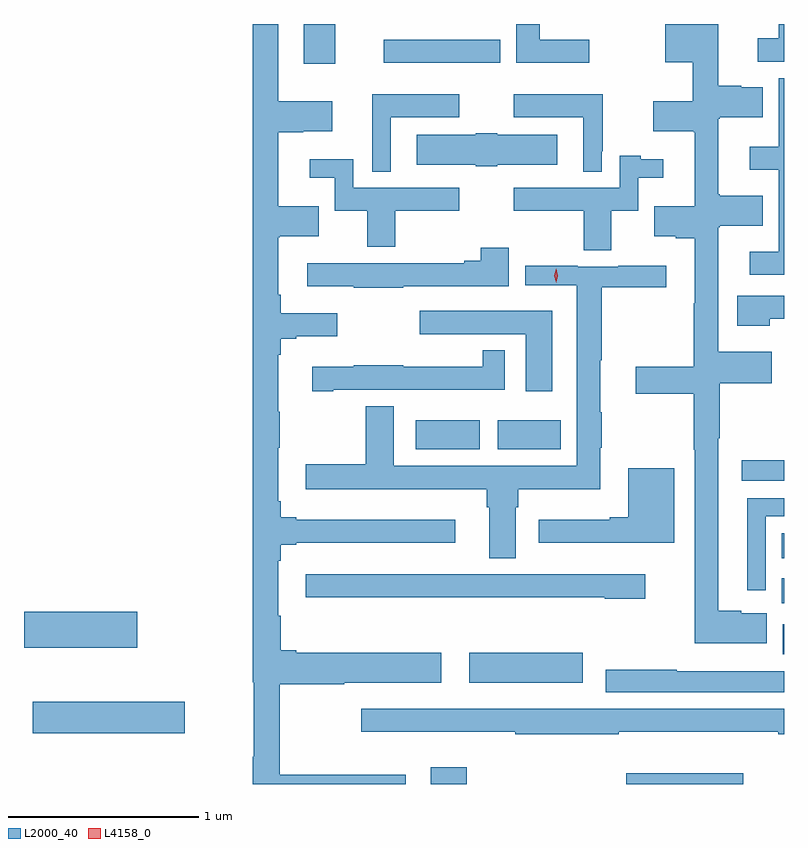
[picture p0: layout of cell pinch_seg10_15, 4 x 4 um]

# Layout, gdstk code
import gdstk
lib = gdstk.Library(unit=1e-6, precision=1e-09)
def R(c, l, rs):  # rectangles x0, y0, x1, y1
    for r in rs: c.add(gdstk.rectangle(r[:2], r[2:], *l))
def P(c, l, *ps):  # polygons
    for p in ps: c.add(gdstk.Polygon(p, *l))
L2000_40 = (2000, 40)
L4158_0 = (4158, 0)

pinch_seg10_15 = lib.new_cell('pinch_seg10_15')
R(pinch_seg10_15, L2000_40, [(976.352,1274.071,976.54,1274.158), (977.379,1274.071,977.995,1274.128), (974.256,1274.339,975.055,1274.503), (976.554,1274.603,977.152,1274.761), (978.203,1274.753,978.21,1274.911), (974.21,1274.789,974.806,1274.977), (978.199,1275.023,978.21,1275.154), (978.199,1275.26,978.21,1275.391), (977.988,1275.666,978.21,1275.775), (976.272,1275.833,976.609,1275.985), (976.704,1275.833,977.035,1275.985), (975.683,1277.862,975.847,1278.071), (976.104,1277.867,976.717,1277.989)])
P(pinch_seg10_15, L2000_40, [(976.219,1274.119),(975.555,1274.119),(975.555,1274.596),(975.896,1274.596),(975.896,1274.603),(976.405,1274.603),(976.405,1274.761),(975.643,1274.761),(975.643,1274.774),(975.56,1274.774),(975.56,1274.957),(975.547,1274.957),(975.547,1275.245),(975.56,1275.245),(975.56,1275.329),(975.643,1275.329),(975.643,1275.341),(976.48,1275.341),(976.48,1275.463),(975.643,1275.463),(975.643,1275.476),(975.56,1275.476),(975.56,1275.559),(975.547,1275.559),(975.547,1275.841),(975.555,1275.841),(975.555,1276.031),(975.547,1276.031),(975.547,1276.331),(975.56,1276.331),(975.56,1276.415),(975.643,1276.415),(975.643,1276.427),(975.859,1276.427),(975.859,1276.549),(975.56,1276.549),(975.56,1276.645),(975.547,1276.645),(975.547,1276.948),(975.555,1276.948),(975.555,1276.955),(975.761,1276.955),(975.761,1277.113),(975.547,1277.113),(975.547,1277.5),(975.681,1277.5),(975.681,1277.507),(975.832,1277.507),(975.832,1277.665),(975.547,1277.665),(975.547,1278.071),(975.413,1278.071),(975.413,1274.607),(975.418,1274.607),(975.418,1274.215),(975.413,1274.215),(975.413,1274.071),(976.219,1274.071)],
  [(978.118,1274.971),(977.985,1274.971),(977.985,1274.984),(977.863,1274.984),(977.863,1275.891),(977.871,1275.891),(977.871,1276.18),(978.145,1276.18),(978.145,1276.345),(977.863,1276.345),(977.863,1277.002),(977.871,1277.002),(977.871,1277.009),(978.097,1277.009),(978.097,1277.167),(977.871,1277.167),(977.871,1277.175),(977.863,1277.175),(977.863,1277.572),(977.871,1277.572),(977.871,1277.579),(978.097,1277.579),(978.097,1277.737),(977.984,1277.737),(977.984,1277.745),(977.863,1277.745),(977.863,1278.071),(977.585,1278.071),(977.585,1277.87),(977.729,1277.87),(977.729,1277.665),(977.523,1277.665),(977.523,1277.507),(977.734,1277.507),(977.734,1277.5),(977.741,1277.5),(977.741,1277.113),(977.527,1277.113),(977.527,1276.955),(977.64,1276.955),(977.64,1276.943),(977.741,1276.943),(977.741,1276.601),(977.734,1276.601),(977.734,1276.268),(977.43,1276.268),(977.43,1276.126),(977.734,1276.126),(977.734,1275.829),(977.741,1275.829),(977.741,1274.813),(978.118,1274.813)],
  [(977.185,1277.989),(976.924,1277.989),(976.924,1278.071),(976.802,1278.071),(976.802,1277.867),(977.185,1277.867)],
  [(978.21,1278.071),(978.182,1278.071),(978.182,1277.995),(978.072,1277.995),(978.072,1277.873),(978.21,1277.873)],
  [(978.21,1277.785),(978.182,1277.785),(978.182,1277.425),(978.03,1277.425),(978.03,1277.303),(978.182,1277.303),(978.182,1276.873),(978.03,1276.873),(978.03,1276.751),(978.21,1276.751)],
  [(977.25,1277.401),(977.255,1277.401),(977.255,1277.701),(976.788,1277.701),(976.788,1277.579),(977.153,1277.579),(977.153,1277.294),(977.25,1277.294)],
  [(976.141,1277.579),(976.501,1277.579),(976.501,1277.701),(976.043,1277.701),(976.043,1277.401),(976.044,1277.401),(976.044,1277.294),(976.141,1277.294)],
  [(976.7,1277.33),(977.017,1277.33),(977.017,1277.488),(976.7,1277.488),(976.7,1277.496),(976.588,1277.496),(976.588,1277.488),(976.278,1277.488),(976.278,1277.33),(976.588,1277.33),(976.588,1277.323),(976.7,1277.323)],
  [(977.302,1277.087),(977.442,1277.087),(977.442,1277.261),(977.575,1277.261),(977.575,1277.359),(977.456,1277.359),(977.456,1277.378),(977.346,1277.378),(977.346,1277.209),(976.788,1277.209),(976.788,1277.087),(977.155,1277.087),(977.155,1276.879),(977.302,1276.879)],
  [(976.164,1277.087),(976.501,1277.087),(976.501,1277.209),(975.942,1277.209),(975.942,1277.359),(975.714,1277.359),(975.714,1277.261),(975.846,1277.261),(975.846,1277.087),(976.016,1277.087),(976.016,1276.898),(976.164,1276.898)],
  [(976.205,1276.691),(976.762,1276.691),(976.762,1276.894),(976.615,1276.894),(976.615,1276.826),(976.526,1276.826),(976.526,1276.813),(975.702,1276.813),(975.702,1276.691),(975.946,1276.691),(975.946,1276.684),(976.205,1276.684)],
  [(976.798,1275.527),(976.811,1275.527),(976.811,1275.623),(977.242,1275.623),(977.242,1275.841),(977.25,1275.841),(977.25,1276.027),(977.242,1276.027),(977.242,1276.301),(977.25,1276.301),(977.25,1276.686),(977.59,1276.686),(977.59,1276.799),(977.338,1276.799),(977.338,1276.794),(977.124,1276.794),(977.124,1276.799),(976.847,1276.799),(976.847,1276.697),(977.12,1276.697),(977.12,1275.745),(976.156,1275.745),(976.156,1276.06),(976.009,1276.06),(976.009,1275.753),(975.693,1275.753),(975.693,1275.623),(976.646,1275.623),(976.646,1275.527),(976.658,1275.527),(976.658,1275.26),(976.798,1275.26)],
  [(978.136,1276.52),(978.21,1276.52),(978.21,1276.642),(977.964,1276.642),(977.964,1276.484),(978.136,1276.484)],
  [(976.99,1276.561),(976.293,1276.561),(976.293,1276.439),(976.85,1276.439),(976.85,1276.137),(976.99,1276.137)],
  [(975.838,1276.145),(976.74,1276.145),(976.74,1276.354),(976.624,1276.354),(976.624,1276.267),(976.205,1276.267),(976.205,1276.275),(975.946,1276.275),(975.946,1276.267),(975.726,1276.267),(975.726,1276.138),(975.838,1276.138)],
  [(977.632,1275.733),(977.39,1275.733),(977.39,1275.476),(977.294,1275.476),(977.294,1275.463),(976.92,1275.463),(976.92,1275.341),(977.632,1275.341)],
  [(978.114,1275.48),(978.21,1275.48),(978.21,1275.576),(978.017,1275.576),(978.017,1275.09),(978.114,1275.09)],
  [(977.479,1275.175),(975.693,1275.175),(975.693,1275.053),(977.266,1275.053),(977.266,1275.046),(977.479,1275.046)],
  [(978.21,1274.665),(977.645,1274.665),(977.645,1274.673),(977.271,1274.673),(977.271,1274.555),(978.21,1274.555)],
  [(977.339,1274.345),(978.181,1274.345),(978.181,1274.333),(978.21,1274.333),(978.21,1274.467),(975.984,1274.467),(975.984,1274.345),(976.796,1274.345),(976.796,1274.333),(977.339,1274.333)])
P(pinch_seg10_15, L4158_0, [(977.01,1276.71),(977.01,1276.711),(977,1276.746),(977.01,1276.782),(977.01,1276.782),(977.01,1276.782),(977.02,1276.746),(977.01,1276.711)])

lib.write_gds('pinch_seg10_15.gds')
